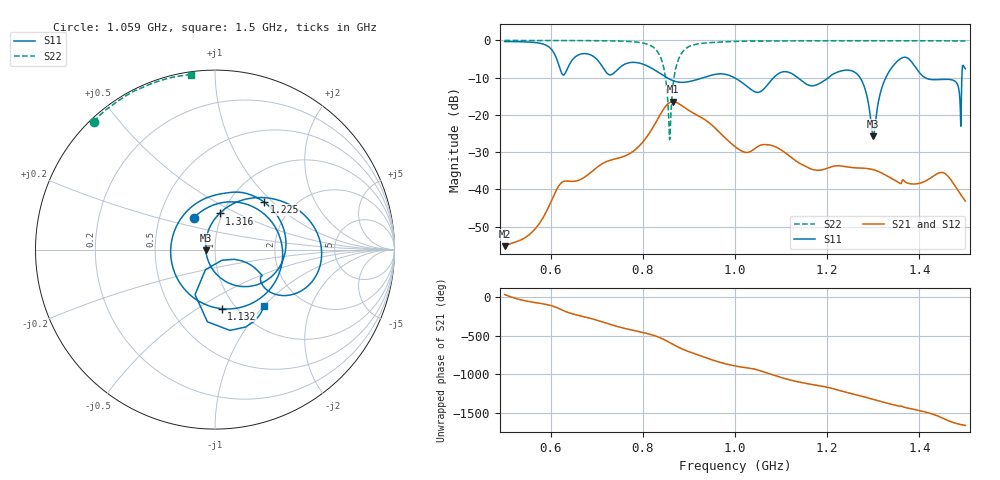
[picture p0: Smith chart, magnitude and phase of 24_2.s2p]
! TOUCHSTONE file generated by CST MICROWAVE STUDIO
! Date and time: Mon Nov 30 09:09:06 2020
! Project name: Scenario_1_Planar_Body_Tissue_Out_of_Line_v2.cst
! Parameters = {dy1=51.9; L_HA=400; Ltissue=700; MT=2.54; Rad_Dielectric=30; Rad_Lower=7.3; Rad_Upper=30; Wtissue=700; a_HA=580; a_WG=246; b_HA=500; b_WG=121; c_HA=0; c_WG=187; d_feed=85; dx1=346; h_feed=15; h_lower=18; h_upper=40; hfat=3; hgap=25; hmuscle=50; hskin=1.5}
! Header version: 2018
! Port assignment regex: !\s*Touchstone port\s*([0-9]+)\s*=\s*(CST MWS port|CST DS port)\s*([0-9]+|Zmin|Zmax)\s*\(\"(.*)\"\)(\s*mode\s*([0-9]+))?.*
! Touchstone port assignment:
! Touchstone port 1 = CST MWS port 1 ("")
! Touchstone port 2 = CST MWS port 2 ("")
# GHz S DB R 50
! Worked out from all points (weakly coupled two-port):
!   1003 points, 500 MHz to 1.5 GHz, reference 50 ohm
!   highest |S21| = -16.43 dB at 865 MHz (marker M1); lowest = -55.2 dB at 500 MHz (marker M2)
!   lowest |S11| = -25.7 dB at 1.3 GHz (marker M3), VSWR 1.11, Z = 45.1 - j0.428 ohm
!   |S11| at or under -10 dB: 852.3 MHz to 931.2 MHz (78.95 MHz wide, 8.85 % of centre); 998.6 MHz to 1.084 GHz (85.15 MHz wide, 8.18 % of centre); 1.413 GHz to 1.492 GHz (79.51 MHz wide, 5.47 % of centre) (the widest 3 of 5)
!   |S22| runs from -26.6 to 0.0 dB; largest |S21 - S12| = 2.4e-06
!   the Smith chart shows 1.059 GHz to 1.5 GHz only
!   S11 on the Smith chart (normalised r, x): 1.059 GHz: 0.75, +0.28; 1.132 GHz: 0.86, -0.64; 1.225 GHz: 1.43, +0.89; 1.316 GHz: 0.97, +0.41; 1.5 GHz: 1.31, -1.00
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0.5  -0.29 -121.8  -55.21 34.2  -55.21 34.2  -0.01 151.2
0.667  -3.61 157.6  -37.18 114.4  -37.18 114.4  -0.04 138.4
0.695  -4.49 101.1  -34.60 70.7  -34.60 70.7  -0.06 135.4
0.717  -7.94 22.7  -32.74 29.1  -32.74 29.1  -0.09 132.7
0.741  -8.30 -98.4  -31.79 -14.8  -31.79 -14.8  -0.14 129.1
0.769  -6.02 176.5  -30.54 -56.4  -30.54 -56.4  -0.27 123.3
0.834  -8.59 29.1  -20.72 -158.0  -20.72 -158.0  -3.41 84.3
0.857  -10.32 -34.4  -16.76 134.7  -16.76 134.7  -23.72 2.9
0.865  -10.77 -58.7  -16.43 108.1  -16.43 108.1  -12.62 -138.5
0.902  -11.00 -176.4  -18.95 9.1  -18.95 9.1  -1.52 167.2
0.939  -9.70 82.1  -21.64 -70.0  -21.64 -70.0  -0.66 151.2
1  -10.09 -60.3  -28.48 -171.6  -28.48 -171.6  -0.27 140.3
1.059  -13.43 123.4  -28.00 117.4  -28.00 117.4  -0.16 133.5
1.101  -8.52 1.3  -29.45 36.6  -29.45 36.6  -0.12 129.6
1.132  -9.60 -83.6  -32.30 -11.3  -32.30 -11.3  -0.11 126.9
1.167  -12.17 173.0  -34.57 -52.5  -34.57 -52.5  -0.10 124.2
1.225  -8.39 44.2  -33.64 -127.2  -33.64 -127.2  -0.09 119.8
1.272  -10.11 -37.9  -34.25 160.5  -34.25 160.5  -0.08 116.2
1.3  -25.74 -174.7  -34.68 113.9  -34.68 113.9  -0.08 114.1
1.316  -13.86 82.8  -35.43 86.6  -35.43 86.6  -0.08 112.9
1.334  -8.44 50.1  -36.62 58.0  -36.62 58.0  -0.09 111.5
1.5  -7.60 -49.4  -43.10 136.3  -43.10 136.3  -0.14 97.9
